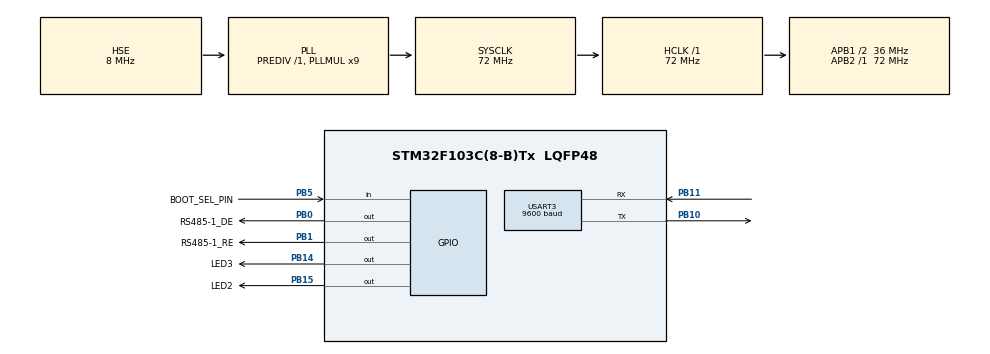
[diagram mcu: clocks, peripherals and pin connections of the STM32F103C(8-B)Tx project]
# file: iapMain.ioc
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Mcu.Family=STM32F1
Mcu.Name=STM32F103C(8-B)Tx
Mcu.Package=LQFP48
NVIC.PriorityGroup=NVIC_PRIORITYGROUP_4
NVIC.USART3_IRQn=true\:1\:0\:true\:false\:true\:true\:true\:true
PA13.Mode=Serial_Wire
PA13.Signal=SYS_JTMS-SWDIO
PA14.Mode=Serial_Wire
PA14.Signal=SYS_JTCK-SWCLK
PB0.GPIO_Label=RS485-1_DE
PB0.GPIO_Speed=GPIO_SPEED_FREQ_MEDIUM
PB0.Signal=GPIO_Output
PB1.GPIO_Label=RS485-1_RE
PB1.GPIO_Speed=GPIO_SPEED_FREQ_MEDIUM
PB1.Signal=GPIO_Output
PB10.Mode=Asynchronous
PB10.Signal=USART3_TX
PB11.Mode=Asynchronous
PB11.Signal=USART3_RX
PB14.GPIO_Label=LED3
PB14.GPIO_Speed=GPIO_SPEED_FREQ_MEDIUM
PB14.PinState=GPIO_PIN_SET
PB14.Signal=GPIO_Output
PB15.GPIO_Label=LED2
PB15.GPIO_Speed=GPIO_SPEED_FREQ_MEDIUM
PB15.PinState=GPIO_PIN_SET
PB15.Signal=GPIO_Output
PB5.GPIO_Label=BOOT_SEL_PIN
PB5.GPIO_PuPd=GPIO_PULLUP
PB5.Signal=GPIO_Input
PC14-OSC32_IN.Mode=LSE-External-Oscillator
PC14-OSC32_IN.Signal=RCC_OSC32_IN
PC15-OSC32_OUT.Mode=LSE-External-Oscillator
PC15-OSC32_OUT.Signal=RCC_OSC32_OUT
PD0-OSC_IN.Mode=HSE-External-Oscillator
PD0-OSC_IN.Signal=RCC_OSC_IN
PD1-OSC_OUT.Mode=HSE-External-Oscillator
PD1-OSC_OUT.Signal=RCC_OSC_OUT
ProjectManager.HeapSize=0x200
ProjectManager.StackSize=0x400
ProjectManager.TargetToolchain=EWARM V8
RCC.AHBFreq_Value=72000000
RCC.APB1CLKDivider=RCC_HCLK_DIV2
RCC.APB1Freq_Value=36000000
RCC.APB1TimFreq_Value=72000000
RCC.APB2Freq_Value=72000000
RCC.APB2TimFreq_Value=72000000
RCC.HCLKFreq_Value=72000000
RCC.PLLMUL=RCC_PLL_MUL9
RCC.PLLSourceVirtual=RCC_PLLSOURCE_HSE
RCC.SYSCLKFreq_VALUE=72000000
RCC.SYSCLKSource=RCC_SYSCLKSOURCE_PLLCLK
RCC.USBFreq_Value=72000000
USART3.BaudRate=9600
USART3.VirtualMode=VM_ASYNC
board=custom

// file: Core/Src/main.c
/* USER CODE BEGIN Header */
/**
  ******************************************************************************
  * @file           : main.c
  * @brief          : Main program body
  ******************************************************************************
  * @attention
  *
  * Copyright (c) 2023 STMicroelectronics.
  * All rights reserved.
  *
  * This software is licensed under terms that can be found in the LICENSE file
  * in the root directory of this software component.
  * If no LICENSE file comes with this software, it is provided AS-IS.
  *
  ******************************************************************************
  */
/* USER CODE END Header */
#include "main.h"
#include "usart.h"
#include "gpio.h"

/* USER CODE BEGIN Includes */
#include "communication.h"
/* USER CODE END Includes */

/* USER CODE BEGIN PD */
#define LED_TOGGLE_FRE      50 //ms
/* USER CODE END PD */

/* USER CODE BEGIN PV */
pFunction JumpToApplication;
uint32_t JumpAddress;
uint32_t FlashProtection = 0;

// led blink count
uint32_t LedToggleCount = 0;
/* USER CODE END PV */

void SystemClock_Config(void);

/* USER CODE BEGIN 0 */
/**
  * @brief  Rx Transfer completed callbacks.
  * @param  huart  Pointer to a UART_HandleTypeDef structure that contains
  *                the configuration information for the specified UART module.
  * @retval None
  */
void HAL_UART_RxCpltCallback(UART_HandleTypeDef *huart)
{
    if(huart->Instance==USART3){
        comRxHandle();
    }
}

/**
  * @brief  Tx Transfer completed callbacks.
  * @param  huart  Pointer to a UART_HandleTypeDef structure that contains
  *                the configuration information for the specified UART module.
  * @retval None
  */
void HAL_UART_TxCpltCallback(UART_HandleTypeDef *huart)
{
    if(huart->Instance==USART3){
        comTxHandle();
    }
}
/* USER CODE END 0 */

int main(void)
{

  /* MCU Configuration--------------------------------------------------------*/

  /* Reset of all peripherals, Initializes the Flash interface and the Systick. */
  HAL_Init();

  /* Configure the system clock */
  SystemClock_Config();

  /* Initialize all configured peripherals */
  MX_GPIO_Init();
  MX_USART3_UART_Init();
  /* USER CODE BEGIN 2 */
  LED2_OFF;LED3_OFF;
  if(!IS_BOOT_SEL_OFF){
    // normal startup
    /* Test if user code is programmed starting from address "APPLICATION_ADDRESS" */
    if (((*(__IO uint32_t*)APPLICATION_ADDRESS) & 0x2FFE0000 ) == 0x20000000)
    {
      /* Jump to user application */
      JumpAddress = *(__IO uint32_t*) (APPLICATION_ADDRESS + 4);
      JumpToApplication = (pFunction) JumpAddress;
      /* Initialize user application's Stack Pointer */
      __set_MSP(*(__IO uint32_t*) APPLICATION_ADDRESS);
      JumpToApplication();
    }
  }
  /* Initialise Flash */
  FLASH_If_Init();
  /* communication init */
  communicationInit();
  /* Test if any sector of Flash memory where user application will be loaded is write protected */
  FlashProtection = FLASH_If_GetWriteProtectionStatus();
  /* Clean the input path */
  __HAL_UART_FLUSH_DRREGISTER(&COM_UART_HANDLE);
  /* USER CODE END 2 */

  /* Infinite loop */
  while (1)
  {

    /* USER CODE BEGIN 3 */
    if(LedToggleCount >= LED_TOGGLE_FRE){
        LedToggleCount = 0;
        LED2_TOGGLE;
    }
    comPollingData();
  }
  /* USER CODE END 3 */
}

void SystemClock_Config(void)
{
  RCC_OscInitTypeDef RCC_OscInitStruct = {0};
  RCC_ClkInitTypeDef RCC_ClkInitStruct = {0};

  /** Initializes the RCC Oscillators according to the specified parameters
  * in the RCC_OscInitTypeDef structure.
  */
  RCC_OscInitStruct.OscillatorType = RCC_OSCILLATORTYPE_HSE;
  RCC_OscInitStruct.HSEState = RCC_HSE_ON;
  RCC_OscInitStruct.HSEPredivValue = RCC_HSE_PREDIV_DIV1;
  RCC_OscInitStruct.HSIState = RCC_HSI_ON;
  RCC_OscInitStruct.PLL.PLLState = RCC_PLL_ON;
  RCC_OscInitStruct.PLL.PLLSource = RCC_PLLSOURCE_HSE;
  RCC_OscInitStruct.PLL.PLLMUL = RCC_PLL_MUL9;
  if (HAL_RCC_OscConfig(&RCC_OscInitStruct) != HAL_OK)
  {
    Error_Handler();
  }

  /** Initializes the CPU, AHB and APB buses clocks
  */
  RCC_ClkInitStruct.ClockType = RCC_CLOCKTYPE_HCLK|RCC_CLOCKTYPE_SYSCLK
                              |RCC_CLOCKTYPE_PCLK1|RCC_CLOCKTYPE_PCLK2;
  RCC_ClkInitStruct.SYSCLKSource = RCC_SYSCLKSOURCE_PLLCLK;
  RCC_ClkInitStruct.AHBCLKDivider = RCC_SYSCLK_DIV1;
  RCC_ClkInitStruct.APB1CLKDivider = RCC_HCLK_DIV2;
  RCC_ClkInitStruct.APB2CLKDivider = RCC_HCLK_DIV1;

  if (HAL_RCC_ClockConfig(&RCC_ClkInitStruct, FLASH_LATENCY_2) != HAL_OK)
  {
    Error_Handler();
  }
}

void Error_Handler(void)
{
  __disable_irq();
  while (1)
  {
  }
}
